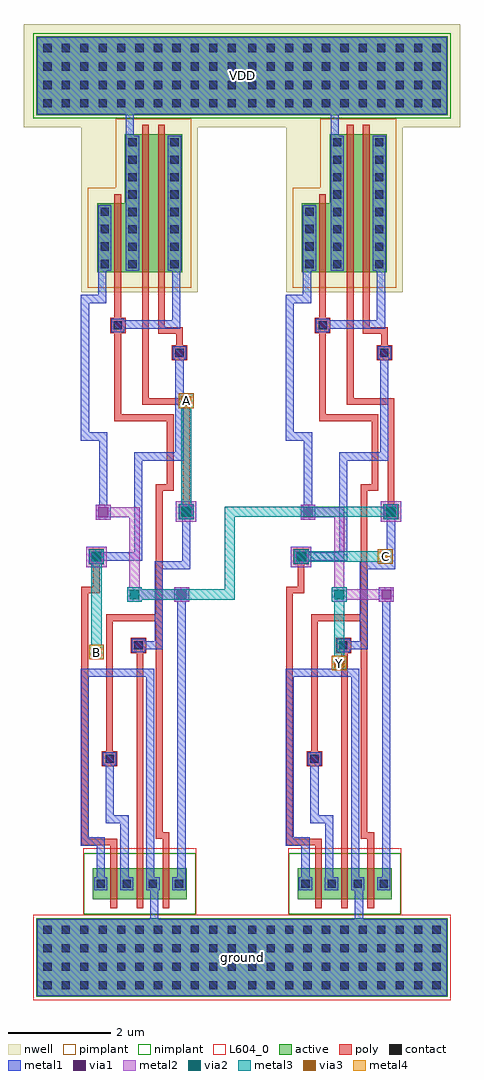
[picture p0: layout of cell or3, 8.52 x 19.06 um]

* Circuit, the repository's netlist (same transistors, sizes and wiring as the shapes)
* LVS netlist generated with ICnet by 'egrvlsi07' on Wed Apr 10 2019 at 13:19:35

*
* Globals.
*
.global ground VDD

*
* Component pathname : $VLSI/Project/or
*
.subckt or  Y A B

        M6 Y N$22 ground ground nmos l=0.13u w=0.6u m=1
        M5 Y N$22 VDD VDD pmos l=0.13u w=1.35u m=1
        M4 N$22 A ground ground nmos l=0.13u w=0.6u m=1
        M3 N$22 B ground ground nmos l=0.13u w=0.6u m=1
        M2 N$22 B N$13 VDD pmos l=0.13u w=2.7u m=1
        M1 N$13 A VDD VDD pmos l=0.13u w=2.7u m=1
.ends or

*
* Component pathname : $VLSI/Project/or3
*
.subckt or3  Y A B C

        X_OR2 Y N$5 C or
        X_OR1 N$5 A B or
.ends or3

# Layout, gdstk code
import gdstk
lib = gdstk.Library(unit=1e-6, precision=1e-09)
def R(c, l, rs):  # rectangles x0, y0, x1, y1
    for r in rs: c.add(gdstk.rectangle(r[:2], r[2:], *l))
def A(c, l, x, y, w, h, nx, ny, dx, dy):  # array of equal rectangles
    R(c, l, [(x+i*dx, y+j*dy, x+i*dx+w, y+j*dy+h) for i in range(nx) for j in range(ny)])
def P(c, l, *ps):  # polygons
    for p in ps: c.add(gdstk.Polygon(p, *l))
nwell = (3, 0)
active = (6, 0)
poly = (17, 0)
pimplant = (25, 0)
nimplant = (26, 0)
contact = (30, 0)
metal1 = (31, 0)
metal2 = (32, 0)
metal3 = (33, 0)
metal4 = (34, 0)
via1 = (51, 0)
via2 = (52, 0)
via3 = (53, 0)
L604_0 = (604, 0)

m1m2 = lib.new_cell('M1M2')
R(m1m2, metal1, [(-0.145,-0.145,0.145,0.145)])
R(m1m2, metal2, [(-0.145,-0.145,0.145,0.145)])
R(m1m2, via1, [(-0.095,-0.095,0.095,0.095)])

m2m3 = lib.new_cell('M2M3')
R(m2m3, metal2, [(-0.145,-0.145,0.145,0.145)])
R(m2m3, metal3, [(-0.145,-0.145,0.145,0.145)])
R(m2m3, via2, [(-0.095,-0.095,0.095,0.095)])

poly_m1 = lib.new_cell('POLY_M1')
R(poly_m1, poly, [(-0.15,-0.15,0.15,0.15)])
R(poly_m1, contact, [(-0.08,-0.08,0.08,0.08)])
R(poly_m1, metal1, [(-0.13,-0.13,0.13,0.13)])

c_or = lib.new_cell('or')
R(c_or, nwell, [(24.35,98.125,26.63,101.605), (23.23,101.345,27.75,103.365)])
R(c_or, active, [(23.47,84.365,27.51,85.905), (24.58,86.275,26.41,86.875), (23.47,101.585,27.51,103.125)])
P(c_or, active, [(26.32,98.515),(26.32,101.215),(25.2,101.215),(25.2,99.865),(24.66,99.865),(24.66,98.515)])
A(c_or, poly, 24.92, 86.095, 0.13, 0.18, 3, 2, 0.51, 0.78)
A(c_or, poly, 24.92, 86.275, 0.13, 0.6, 3, 1, 0.51, 0)
R(c_or, poly, [(24.58,92.9,24.715,93.03), (25,97.415,25.13,98.465), (25,98.335,25.13,98.515), (25.54,98.335,25.67,98.515), (25.85,98.335,25.98,98.515), (25,98.515,25.13,99.865), (25.54,98.515,25.67,101.215), (25.85,98.515,25.98,101.215), (25,99.865,25.13,100.045), (25.54,101.215,25.67,101.395), (25.85,101.215,25.98,101.395)])
P(c_or, poly, [(25.54,95.93),(26.335,95.93),(26.335,93.775),(26.465,93.775),(26.465,96.06),(25.67,96.06),(25.67,98.465),(25.54,98.465)],
  [(25.405,91.165),(25.43,91.165),(25.43,86.925),(25.56,86.925),(25.56,91.295),(25.405,91.295)],
  [(25.85,97.315),(26.205,97.315),(26.205,96.88),(26.335,96.88),(26.335,97.445),(25.98,97.445),(25.98,98.465),(25.85,98.465)],
  [(24.84,88.95),(24.97,88.95),(24.97,91.705),(25.94,91.705),(25.94,91.835),(24.84,91.835)],
  [(24.355,87.325),(24.92,87.325),(24.92,86.925),(25.05,86.925),(25.05,87.455),(24.485,87.455),(24.485,92.245),(24.71,92.245),(24.71,93.03),(24.58,93.03),(24.58,92.375),(24.355,92.375)],
  [(25.81,87.455),(25.94,87.455),(25.94,86.925),(26.07,86.925),(26.07,87.585),(25.94,87.585),(25.94,91.835),(25.81,91.835)],
  [(25,95.61),(26.025,95.61),(26.025,94.38),(25.81,94.38),(25.81,91.705),(25.94,91.705),(25.94,94.25),(26.155,94.25),(26.155,95.74),(25.13,95.74),(25.13,97.545),(25,97.545)])
R(c_or, pimplant, [(23.41,84.305,27.57,85.965)])
P(c_or, pimplant, [(26.5,98.215),(26.5,101.515),(25.02,101.515),(25.02,100.165),(24.48,100.165),(24.48,98.215)])
R(c_or, nimplant, [(24.4,85.975,26.59,87.175), (23.41,101.525,27.57,103.185)])
A(c_or, contact, 23.61, 84.515, 0.16, 0.16, 11, 4, 0.36, 0.36)
A(c_or, contact, 24.65, 86.495, 0.16, 0.16, 4, 1, 0.51, 0)
A(c_or, contact, 25.27, 98.595, 0.16, 0.16, 1, 8, 0, 0.34)
A(c_or, contact, 26.09, 98.595, 0.16, 0.16, 1, 8, 0, 0.34)
A(c_or, contact, 24.73, 98.6, 0.16, 0.16, 1, 4, 0, 0.34)
A(c_or, contact, 23.61, 101.735, 0.16, 0.16, 11, 4, 0.36, 0.36)
A(c_or, metal1, 24.6, 86.445, 0.26, 0.26, 4, 1, 0.51, 0)
R(c_or, metal1, [(23.49,84.385,27.49,85.885), (23.49,84.385,27.49,85.885), (25.695,85.725,25.855,86.605), (26.23,86.545,26.39,92.305), (25.22,98.545,25.48,101.185), (26.04,98.545,26.3,101.185), (24.68,98.55,24.94,99.83), (25.22,101.025,25.38,101.765), (23.49,101.605,27.49,103.105), (23.49,101.605,27.49,103.105)])
P(c_or, metal1, [(24.34,87.32),(24.65,87.32),(24.65,86.545),(24.81,86.545),(24.81,87.48),(24.5,87.48),(24.5,90.615),(25.62,90.615),(25.62,86.545),(25.78,86.545),(25.78,90.775),(24.34,90.775)],
  [(25.39,91.15),(25.945,91.15),(25.945,92.715),(26.48,92.715),(26.48,93.92),(26.32,93.92),(26.32,92.875),(25.785,92.875),(25.785,91.31),(25.39,91.31)],
  [(24.345,95.23),(24.7,95.23),(24.7,93.75),(24.86,93.75),(24.86,95.39),(24.505,95.39),(24.505,97.915),(24.84,97.915),(24.84,98.71),(24.68,98.71),(24.68,98.075),(24.345,98.075)],
  [(24.985,97.4),(25.145,97.4),(25.145,97.415),(26.285,97.415),(26.285,98.705),(26.125,98.705),(26.125,97.575),(24.985,97.575)],
  [(24.57,92.885),(25.545,92.885),(25.545,94.84),(26.35,94.84),(26.35,97.025),(26.19,97.025),(26.19,95),(25.385,95),(25.385,93.045),(24.57,93.045)],
  [(24.825,87.755),(25.115,87.755),(25.115,86.545),(25.275,86.545),(25.275,87.915),(24.985,87.915),(24.985,89.095),(24.825,89.095)])
R(c_or, metal2, [(24.445,92.755,24.845,93.155), (26.2,93.645,26.6,94.045)])
P(c_or, metal2, [(24.68,93.73),(25.29,93.73),(25.29,92.125),(26.41,92.125),(26.41,92.325),(25.49,92.325),(25.49,93.93),(24.68,93.93)])
R(c_or, metal3, [(25.29,92.125,25.49,92.325), (24.55,92.865,24.75,93.065), (26.3,93.74,26.5,93.94)])
R(c_or, L604_0, [(23.41,84.305,27.57,85.965), (24.39,85.885,26.6,87.265)])
c_or.add(gdstk.Reference(m1m2, (26.31,92.225)))
c_or.add(gdstk.Reference(m2m3, (25.39,92.225)))
c_or.add(gdstk.Reference(m1m2, (24.78,93.83)))
c_or.add(gdstk.Reference(poly_m1, (26.4,93.84)))
c_or.add(gdstk.Reference(m1m2, (26.4,93.84)))
c_or.add(gdstk.Reference(m2m3, (26.4,93.84)))
c_or.add(gdstk.Reference(poly_m1, (25.47,91.23)))
c_or.add(gdstk.Reference(poly_m1, (26.27,96.945)))
c_or.add(gdstk.Reference(m1m2, (24.65,92.965)))
c_or.add(gdstk.Reference(m2m3, (24.65,92.965)))
c_or.add(gdstk.Reference(poly_m1, (25.065,97.48)))
c_or.add(gdstk.Reference(poly_m1, (24.645,92.965)))
c_or.add(gdstk.Reference(m1m2, (24.645,92.965)))
c_or.add(gdstk.Reference(poly_m1, (24.905,89.015)))
c_or.add(gdstk.Label('/M5', (25.065,99.19), layer=17, texttype=0))
c_or.add(gdstk.Label('/M1', (25.605,99.865), layer=17, texttype=0))
c_or.add(gdstk.Label('/M2', (25.915,99.865), layer=17, texttype=0))
c_or.add(gdstk.Label('/M3', (24.985,86.575), layer=17, texttype=0))
c_or.add(gdstk.Label('/M4', (25.495,86.575), layer=17, texttype=0))
c_or.add(gdstk.Label('/M6', (26.005,86.575), layer=17, texttype=0))
c_or.add(gdstk.Label('A', (26.4,93.84), layer=133, texttype=0))
c_or.add(gdstk.Label('B', (24.65,92.965), layer=133, texttype=0))
c_or.add(gdstk.Label('Y', (25.39,92.225), layer=133, texttype=0))

m3m4 = lib.new_cell('M3M4')
R(m3m4, metal3, [(-0.145,-0.145,0.145,0.145)])
R(m3m4, metal4, [(-0.145,-0.145,0.145,0.145)])
R(m3m4, via3, [(-0.095,-0.095,0.095,0.095)])

or3 = lib.new_cell('or3')
R(or3, metal1, [(-1.465,86.35,6.535,87.85), (-1.465,103.57,6.535,105.07)])
R(or3, metal3, [(4.335,92.75,4.535,94.29), (-0.405,92.965,-0.205,95.03), (3.595,94.83,5.43,95.03), (1.345,95.705,1.545,98.07)])
P(or3, metal3, [(0.335,94.09),(2.395,94.09),(2.395,95.705),(5.545,95.705),(5.545,95.905),(2.195,95.905),(2.195,94.29),(0.335,94.29)])
R(or3, metal4, [(4.335,92.75,4.535,92.95), (-0.405,92.965,-0.205,93.165), (5.23,94.83,5.43,95.03), (1.345,97.87,1.545,98.07)])
or3.add(gdstk.Reference(c_or, (-24.955,1.965)))
or3.add(gdstk.Reference(c_or, (-20.955,1.965)))
or3.add(gdstk.Reference(m3m4, (4.435,92.85)))
or3.add(gdstk.Reference(m3m4, (5.33,94.93)))
or3.add(gdstk.Reference(m3m4, (-0.305,93.065)))
or3.add(gdstk.Reference(m3m4, (1.445,97.97)))
or3.add(gdstk.Label('Y', (4.435,92.85), layer=134, texttype=0))
or3.add(gdstk.Label('C', (5.33,94.93), layer=134, texttype=0))
or3.add(gdstk.Label('B', (-0.305,93.065), layer=134, texttype=0))
or3.add(gdstk.Label('A', (1.445,97.97), layer=134, texttype=0))
or3.add(gdstk.Label('ground', (2.535,87.1), layer=131, texttype=0))
or3.add(gdstk.Label('VDD', (2.535,104.32), layer=131, texttype=0))

lib.write_gds('or3.gds')
